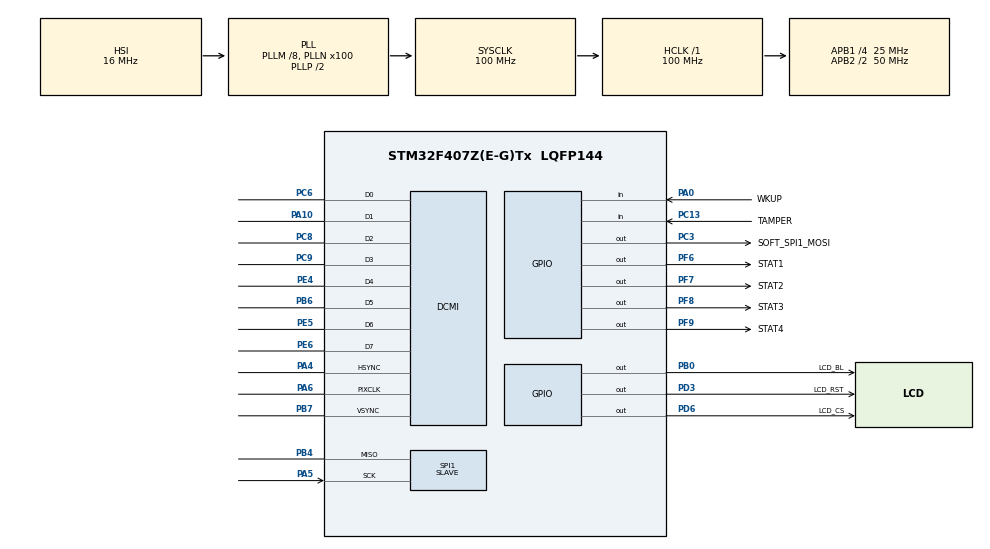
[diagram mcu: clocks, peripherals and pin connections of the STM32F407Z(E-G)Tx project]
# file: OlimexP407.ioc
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DCMI.JPEGMode=DCMI_JPEG_DISABLE
DCMI.VSPolarity=DCMI_VSPOLARITY_HIGH
Mcu.Family=STM32F4
Mcu.Name=STM32F407Z(E-G)Tx
Mcu.Package=LQFP144
NVIC.PriorityGroup=NVIC_PRIORITYGROUP_4
PA0-WKUP.GPIO_Label=WKUP
PA0-WKUP.Signal=GPIO_Input
PA10.Mode=Slave_8_bits_External_Synchro
PA10.Signal=DCMI_D1
PA4.GPIO_Speed=GPIO_SPEED_FREQ_VERY_HIGH
PA4.Mode=Slave_8_bits_External_Synchro
PA4.Signal=DCMI_HSYNC
PA5.Mode=Simplex_Bidirectional_Slave
PA5.Signal=SPI1_SCK
PA6.Mode=Slave_8_bits_External_Synchro
PA6.Signal=DCMI_PIXCLK
PB0.GPIO_Label=LCD_BL
PB0.Signal=GPIO_Output
PB4.Mode=Simplex_Bidirectional_Slave
PB4.Signal=SPI1_MISO
PB6.Mode=Slave_8_bits_External_Synchro
PB6.Signal=DCMI_D5
PB7.Mode=Slave_8_bits_External_Synchro
PB7.Signal=DCMI_VSYNC
PC13-ANTI_TAMP.GPIO_Label=TAMPER
PC13-ANTI_TAMP.Signal=GPIO_Input
PC14-OSC32_IN.Mode=LSE-External-Oscillator
PC14-OSC32_IN.Signal=RCC_OSC32_IN
PC15-OSC32_OUT.Mode=LSE-External-Oscillator
PC15-OSC32_OUT.Signal=RCC_OSC32_OUT
PC3.GPIO_Label=SOFT_SPI1_MOSI
PC3.Signal=GPIO_Output
PC6.Mode=Slave_8_bits_External_Synchro
PC6.Signal=DCMI_D0
PC8.Mode=Slave_8_bits_External_Synchro
PC8.Signal=DCMI_D2
PC9.Mode=Slave_8_bits_External_Synchro
PC9.Signal=DCMI_D3
PD3.GPIO_Label=LCD_RST
PD3.Signal=GPIO_Output
PD6.GPIO_Label=LCD_CS
PD6.Signal=GPIO_Output
PE4.Mode=Slave_8_bits_External_Synchro
PE4.Signal=DCMI_D4
PE5.Mode=Slave_8_bits_External_Synchro
PE5.Signal=DCMI_D6
PE6.Mode=Slave_8_bits_External_Synchro
PE6.Signal=DCMI_D7
PF6.GPIO_Label=STAT1
PF6.Signal=GPIO_Output
PF7.GPIO_Label=STAT2
PF7.Signal=GPIO_Output
PF8.GPIO_Label=STAT3
PF8.Signal=GPIO_Output
PF9.GPIO_Label=STAT4
PF9.Signal=GPIO_Output
PH0-OSC_IN.Mode=HSE-External-Oscillator
PH0-OSC_IN.Signal=RCC_OSC_IN
PH1-OSC_OUT.Mode=HSE-External-Oscillator
PH1-OSC_OUT.Signal=RCC_OSC_OUT
ProjectManager.HeapSize=0x200
ProjectManager.StackSize=0x400
ProjectManager.TargetToolchain=EWARM V7
RCC.48MHZClocksFreq_Value=50000000
RCC.AHBFreq_Value=100000000
RCC.APB1CLKDivider=RCC_HCLK_DIV4
RCC.APB1Freq_Value=25000000
RCC.APB1TimFreq_Value=50000000
RCC.APB2CLKDivider=RCC_HCLK_DIV2
RCC.APB2Freq_Value=50000000
RCC.APB2TimFreq_Value=100000000
RCC.CortexFreq_Value=100000000
RCC.HCLKFreq_Value=100000000
RCC.HSE_VALUE=25000000
RCC.HSI_VALUE=16000000
RCC.PLLM=8
RCC.PLLN=100
RCC.SYSCLKFreq_VALUE=100000000
RCC.SYSCLKSource=RCC_SYSCLKSOURCE_PLLCLK
RCC.VCOOutputFreq_Value=200000000
SPI1.Direction=SPI_DIRECTION_1LINE
SPI1.Mode=SPI_MODE_SLAVE
SPI1.VirtualType=VM_SLAVE
board=custom

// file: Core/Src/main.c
/* USER CODE BEGIN Header */
/**
 ******************************************************************************
 * @file           : main.c
 * @brief          : Main program body
 ******************************************************************************
 * @attention
 *
 * <h2><center>&copy; Copyright (c) 2021 STMicroelectronics.
 * All rights reserved.</center></h2>
 *
 * This software component is licensed by ST under BSD 3-Clause license,
 * the "License"; You may not use this file except in compliance with the
 * License. You may obtain a copy of the License at:
 *                        opensource.org/licenses/BSD-3-Clause
 *
 ******************************************************************************
 */
/* USER CODE END Header */
#include "main.h"

DCMI_HandleTypeDef hdcmi;

SPI_HandleTypeDef hspi1;

void SystemClock_Config(void);
static void MX_GPIO_Init(void);
static void MX_DCMI_Init(void);
static void MX_SPI1_Init(void);

int main(void)
{

  /* MCU Configuration--------------------------------------------------------*/

  /* Reset of all peripherals, Initializes the Flash interface and the Systick. */
  HAL_Init();

  /* Configure the system clock */
  SystemClock_Config();

  /* Initialize all configured peripherals */
  MX_GPIO_Init();
  MX_DCMI_Init();
  MX_SPI1_Init();

  /* Infinite loop */
	while (1) {

    /* USER CODE BEGIN 3 */
		if (HAL_GPIO_ReadPin(TAMPER_GPIO_Port, TAMPER_Pin) == 0) {

			HAL_GPIO_WritePin(STAT1_GPIO_Port, STAT1_Pin, 1);
			HAL_GPIO_WritePin(STAT2_GPIO_Port, STAT2_Pin, 1);
			HAL_GPIO_WritePin(STAT3_GPIO_Port, STAT3_Pin, 1);
			HAL_GPIO_WritePin(STAT4_GPIO_Port, STAT4_Pin, 1);

		} else if (HAL_GPIO_ReadPin(WKUP_GPIO_Port, WKUP_Pin) == 1) {
			HAL_GPIO_WritePin(STAT1_GPIO_Port, STAT1_Pin, 0);
			HAL_GPIO_WritePin(STAT2_GPIO_Port, STAT2_Pin, 1);
			HAL_GPIO_WritePin(STAT3_GPIO_Port, STAT3_Pin, 1);
			HAL_GPIO_WritePin(STAT4_GPIO_Port, STAT4_Pin, 0);
		}

		else {

			HAL_GPIO_WritePin(STAT1_GPIO_Port, STAT1_Pin, 1);
			HAL_GPIO_WritePin(STAT2_GPIO_Port, STAT2_Pin, 0);
			HAL_GPIO_WritePin(STAT3_GPIO_Port, STAT3_Pin, 0);
			HAL_GPIO_WritePin(STAT4_GPIO_Port, STAT4_Pin, 0);
			HAL_Delay(500);
			HAL_GPIO_WritePin(STAT1_GPIO_Port, STAT1_Pin, 0);
			HAL_GPIO_WritePin(STAT2_GPIO_Port, STAT2_Pin, 1);
			HAL_GPIO_WritePin(STAT3_GPIO_Port, STAT3_Pin, 0);
			HAL_GPIO_WritePin(STAT4_GPIO_Port, STAT4_Pin, 0);
			HAL_Delay(500);
			HAL_GPIO_WritePin(STAT1_GPIO_Port, STAT1_Pin, 0);
			HAL_GPIO_WritePin(STAT2_GPIO_Port, STAT2_Pin, 0);
			HAL_GPIO_WritePin(STAT3_GPIO_Port, STAT3_Pin, 1);
			HAL_GPIO_WritePin(STAT4_GPIO_Port, STAT4_Pin, 0);
			HAL_Delay(500);
			HAL_GPIO_WritePin(STAT1_GPIO_Port, STAT1_Pin, 0);
			HAL_GPIO_WritePin(STAT2_GPIO_Port, STAT2_Pin, 0);
			HAL_GPIO_WritePin(STAT3_GPIO_Port, STAT3_Pin, 0);
			HAL_GPIO_WritePin(STAT4_GPIO_Port, STAT4_Pin, 1);
			HAL_Delay(500);
			HAL_GPIO_WritePin(STAT1_GPIO_Port, STAT1_Pin, 0);
			HAL_GPIO_WritePin(STAT2_GPIO_Port, STAT2_Pin, 0);
			HAL_GPIO_WritePin(STAT3_GPIO_Port, STAT3_Pin, 0);
			HAL_GPIO_WritePin(STAT4_GPIO_Port, STAT4_Pin, 0);
			HAL_Delay(500);
		}
	}
  /* USER CODE END 3 */
}

void SystemClock_Config(void)
{
  RCC_OscInitTypeDef RCC_OscInitStruct = {0};
  RCC_ClkInitTypeDef RCC_ClkInitStruct = {0};

  /** Configure the main internal regulator output voltage
  */
  __HAL_RCC_PWR_CLK_ENABLE();
  __HAL_PWR_VOLTAGESCALING_CONFIG(PWR_REGULATOR_VOLTAGE_SCALE1);
  /** Initializes the RCC Oscillators according to the specified parameters
  * in the RCC_OscInitTypeDef structure.
  */
  RCC_OscInitStruct.OscillatorType = RCC_OSCILLATORTYPE_HSI;
  RCC_OscInitStruct.HSIState = RCC_HSI_ON;
  RCC_OscInitStruct.HSICalibrationValue = RCC_HSICALIBRATION_DEFAULT;
  RCC_OscInitStruct.PLL.PLLState = RCC_PLL_ON;
  RCC_OscInitStruct.PLL.PLLSource = RCC_PLLSOURCE_HSI;
  RCC_OscInitStruct.PLL.PLLM = 8;
  RCC_OscInitStruct.PLL.PLLN = 100;
  RCC_OscInitStruct.PLL.PLLP = RCC_PLLP_DIV2;
  RCC_OscInitStruct.PLL.PLLQ = 4;
  if (HAL_RCC_OscConfig(&RCC_OscInitStruct) != HAL_OK)
  {
    Error_Handler();
  }
  /** Initializes the CPU, AHB and APB buses clocks
  */
  RCC_ClkInitStruct.ClockType = RCC_CLOCKTYPE_HCLK|RCC_CLOCKTYPE_SYSCLK
                              |RCC_CLOCKTYPE_PCLK1|RCC_CLOCKTYPE_PCLK2;
  RCC_ClkInitStruct.SYSCLKSource = RCC_SYSCLKSOURCE_PLLCLK;
  RCC_ClkInitStruct.AHBCLKDivider = RCC_SYSCLK_DIV1;
  RCC_ClkInitStruct.APB1CLKDivider = RCC_HCLK_DIV4;
  RCC_ClkInitStruct.APB2CLKDivider = RCC_HCLK_DIV2;

  if (HAL_RCC_ClockConfig(&RCC_ClkInitStruct, FLASH_LATENCY_3) != HAL_OK)
  {
    Error_Handler();
  }
}

static void MX_DCMI_Init(void)
{

  hdcmi.Instance = DCMI;
  hdcmi.Init.SynchroMode = DCMI_SYNCHRO_HARDWARE;
  hdcmi.Init.PCKPolarity = DCMI_PCKPOLARITY_FALLING;
  hdcmi.Init.VSPolarity = DCMI_VSPOLARITY_LOW;
  hdcmi.Init.HSPolarity = DCMI_HSPOLARITY_LOW;
  hdcmi.Init.CaptureRate = DCMI_CR_ALL_FRAME;
  hdcmi.Init.ExtendedDataMode = DCMI_EXTEND_DATA_8B;
  hdcmi.Init.JPEGMode = DCMI_JPEG_ENABLE;
  if (HAL_DCMI_Init(&hdcmi) != HAL_OK)
  {
    Error_Handler();
  }

}

static void MX_SPI1_Init(void)
{

  /* SPI1 parameter configuration*/
  hspi1.Instance = SPI1;
  hspi1.Init.Mode = SPI_MODE_MASTER;
  hspi1.Init.Direction = SPI_DIRECTION_2LINES;
  hspi1.Init.DataSize = SPI_DATASIZE_8BIT;
  hspi1.Init.CLKPolarity = SPI_POLARITY_LOW;
  hspi1.Init.CLKPhase = SPI_PHASE_1EDGE;
  hspi1.Init.NSS = SPI_NSS_SOFT;
  hspi1.Init.BaudRatePrescaler = SPI_BAUDRATEPRESCALER_2;
  hspi1.Init.FirstBit = SPI_FIRSTBIT_MSB;
  hspi1.Init.TIMode = SPI_TIMODE_DISABLE;
  hspi1.Init.CRCCalculation = SPI_CRCCALCULATION_DISABLE;
  hspi1.Init.CRCPolynomial = 10;
  if (HAL_SPI_Init(&hspi1) != HAL_OK)
  {
    Error_Handler();
  }

}

static void MX_GPIO_Init(void)
{
  GPIO_InitTypeDef GPIO_InitStruct = {0};

  /* GPIO Ports Clock Enable */
  __HAL_RCC_GPIOE_CLK_ENABLE();
  __HAL_RCC_GPIOC_CLK_ENABLE();
  __HAL_RCC_GPIOF_CLK_ENABLE();
  __HAL_RCC_GPIOH_CLK_ENABLE();
  __HAL_RCC_GPIOA_CLK_ENABLE();
  __HAL_RCC_GPIOB_CLK_ENABLE();

  /*Configure GPIO pin Output Level */
  HAL_GPIO_WritePin(GPIOF, STAT1_Pin|STAT2_Pin|STAT3_Pin|STAT4_Pin, GPIO_PIN_RESET);

  /*Configure GPIO pin : TAMPER_Pin */
  GPIO_InitStruct.Pin = TAMPER_Pin;
  GPIO_InitStruct.Mode = GPIO_MODE_INPUT;
  GPIO_InitStruct.Pull = GPIO_NOPULL;
  HAL_GPIO_Init(TAMPER_GPIO_Port, &GPIO_InitStruct);

  /*Configure GPIO pins : STAT1_Pin STAT2_Pin STAT3_Pin STAT4_Pin */
  GPIO_InitStruct.Pin = STAT1_Pin|STAT2_Pin|STAT3_Pin|STAT4_Pin;
  GPIO_InitStruct.Mode = GPIO_MODE_OUTPUT_PP;
  GPIO_InitStruct.Pull = GPIO_NOPULL;
  GPIO_InitStruct.Speed = GPIO_SPEED_FREQ_LOW;
  HAL_GPIO_Init(GPIOF, &GPIO_InitStruct);

  /*Configure GPIO pin : WKUP_Pin */
  GPIO_InitStruct.Pin = WKUP_Pin;
  GPIO_InitStruct.Mode = GPIO_MODE_INPUT;
  GPIO_InitStruct.Pull = GPIO_NOPULL;
  HAL_GPIO_Init(WKUP_GPIO_Port, &GPIO_InitStruct);

}

void Error_Handler(void)
{
	__disable_irq();
	while (1) {
	}
}

/************************ (C) COPYRIGHT STMicroelectronics *****END OF FILE****/
